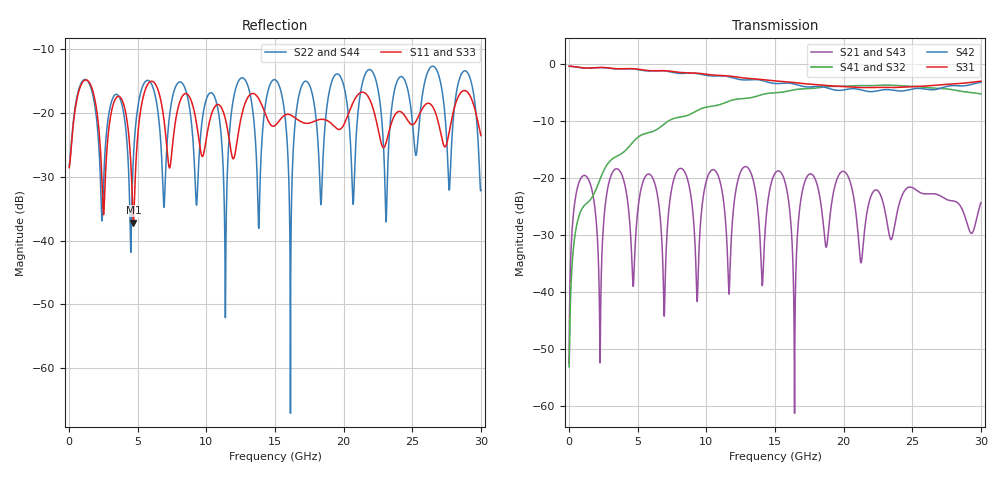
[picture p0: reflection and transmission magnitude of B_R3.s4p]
!diffpair-meanders B_R3 (untuned U-bend, inner radius 3.0 mm), mesh medium
!ports 1 P_near 2 N_near 3 P_far 4 N_far; openEMS FDTD, lumped 50 ohm ports
# Hz S RI R 50.0
! Port[1] = P_near
! Port[2] = N_near
! Port[3] = P_far
! Port[4] = N_far
!freq ReS11 ImS11 ReS12 ImS12 ReS13 ImS13
! ReS14 ImS14
! ReS21 ImS21 ReS22 ImS22 ReS23 ImS23
! ReS24 ImS24
! ReS31 ImS31 ReS32 ImS32 ReS33 ImS33
! ReS34 ImS34
! ReS41 ImS41 ReS42 ImS42 ReS43 ImS43
! ReS44 ImS44
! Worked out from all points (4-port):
!   3000 points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, 10 MHz to 30 GHz, reference 50 ohm
!   strongest paths, dB at 10 MHz, 7.51 GHz, 15.01 GHz, 22.51 GHz, 30 GHz:
!     S31: -0.5, -1.4, -3.0, -4.2, -3.1
!     S42: -0.5, -1.5, -3.5, -4.7, -3.3
!     S41: -53.1, -9.7, -5.1, -3.8, -5.3
!     S32: -53.1, -9.7, -5.1, -3.8, -5.3
!     S21: -52.4, -21.5, -19.2, -22.3, -24.3
!     S43: -52.4, -21.5, -19.2, -22.3, -24.3
!   lowest |S11| = -37.2 dB at 4.69 GHz (marker M1), VSWR 1.03, Z = 51.4 + j0.231 ohm
!   |S11| at or under -10 dB: start of sweep to end of sweep
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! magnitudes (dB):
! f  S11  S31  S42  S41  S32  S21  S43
! 10 MHz  -28.6  -0.5  -0.5  -53.1  -53.1  -52.4  -52.4
! 980 MHz  -15.2  -0.7  -0.8  -25.3  -25.3  -19.7  -19.7
! 4.69 GHz  -37.2  -0.9  -1.0  -13.6  -13.6  -38.8  -38.8
! 5.97 GHz  -15.0  -1.2  -1.3  -12.0  -12.0  -19.6  -19.6
! 16.13 GHz  -20.3  -3.3  -3.4  -4.7  -4.7  -27.1  -27.1
! 26.5 GHz  -19.1  -3.8  -4.6  -4.3  -4.3  -22.8  -22.8
! 30 GHz  -23.5  -3.1  -3.3  -5.3  -5.3  -24.3  -24.3
